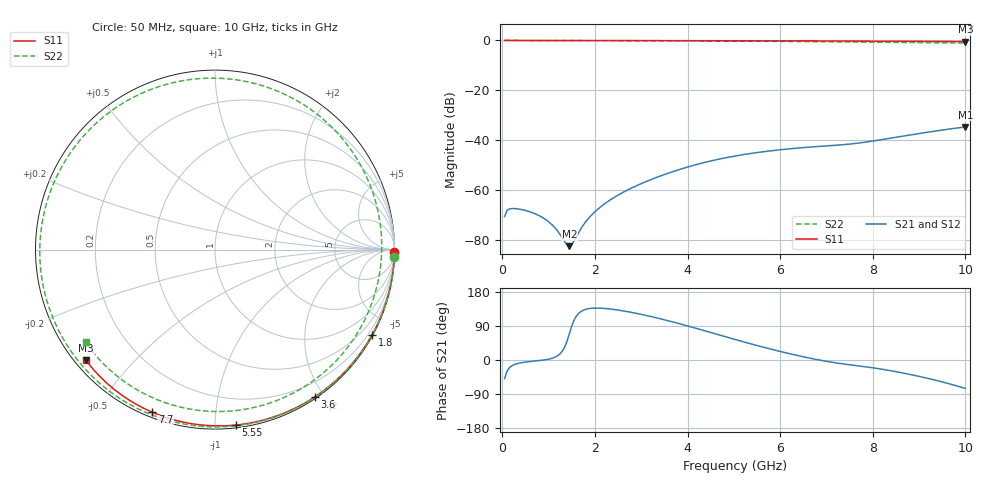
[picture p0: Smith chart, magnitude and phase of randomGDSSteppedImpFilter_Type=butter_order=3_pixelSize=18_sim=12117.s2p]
! freq	dB(S11)	phase(S11)	dB(S12)	phase(S12)
!  dB(S21)	phase(S21)	dB(S22)	phase(S22)
!S-par simulation data
#  GHz  S  DB  R 50
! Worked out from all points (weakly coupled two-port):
!   200 points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, 50 MHz to 10 GHz, reference 50 ohm
!   highest |S21| = -34.64 dB at 10 GHz (marker M1); lowest = -82.3 dB at 1.45 GHz (marker M2)
!   lowest |S11| = -0.5 dB at 10 GHz (marker M3), VSWR 36.91, Z = 1.54 - j18.5 ohm
!   |S11| at or under -10 dB: nowhere
!   |S22| runs from -1.0 to 0.0 dB; largest |S21 - S12| = 0
!   S11 on the Smith chart (normalised r, x): 50 MHz: open; 1.8 GHz: 0.03, -3.93; 3.6 GHz: 0.02, -1.89; 5.55 GHz: 0.02, -1.13; 7.7 GHz: 0.02, -0.69; 10 GHz: 0.03, -0.37
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0.05  -0.00 -0.8  -70.47 -49.2  -70.47 -49.2  -0.00 -2.5
0.2  -0.00 -3.2  -67.28 -15.8  -67.28 -15.8  -0.00 -10.1
0.65  -0.01 -10.4  -68.91 -3.4  -68.91 -3.4  -0.03 -32.4
1.35  -0.03 -21.5  -80.60 34.8  -80.60 34.8  -0.08 -65.4
1.45  -0.03 -23.1  -82.32 69.8  -82.32 69.8  -0.08 -69.9
1.55  -0.03 -24.7  -80.22 105.2  -80.22 105.2  -0.09 -74.4
1.75  -0.04 -27.8  -73.87 131.4  -73.87 131.4  -0.10 -83.1
1.8  -0.04 -28.6  -72.61 133.6  -72.61 133.6  -0.10 -85.3
2.4  -0.05 -37.8  -62.98 133.5  -62.98 133.5  -0.12 -110.2
3.4  -0.07 -52.8  -54.32 109.2  -54.32 109.2  -0.17 -148.9
3.6  -0.08 -55.8  -53.00 103.1  -53.00 103.1  -0.17 -156.4
4.35  -0.09 -66.6  -48.90 77.9  -48.90 77.9  -0.22 175.2
5.05  -0.12 -76.4  -46.16 53.3  -46.16 53.3  -0.27 147.1
5.55  -0.14 -83.2  -44.74 36.6  -44.74 36.6  -0.31 125.1
6.15  -0.16 -91.2  -43.45 18.2  -43.45 18.2  -0.38 95.5
6.7  -0.19 -98.4  -42.59 3.3  -42.59 3.3  -0.46 64.4
7.25  -0.22 -105.4  -41.88 -8.4  -41.88 -8.4  -0.56 29.5
7.7  -0.25 -111.1  -41.05 -15.6  -41.05 -15.6  -0.64 -1.2
8.35  -0.30 -119.1  -39.20 -27.4  -39.20 -27.4  -0.77 -46.0
8.7  -0.34 -123.4  -38.14 -35.5  -38.14 -35.5  -0.84 -69.2
9.1  -0.37 -128.3  -36.96 -46.0  -36.96 -46.0  -0.91 -94.1
10  -0.47 -139.3  -34.64 -75.0  -34.64 -75.0  -1.04 -144.4
